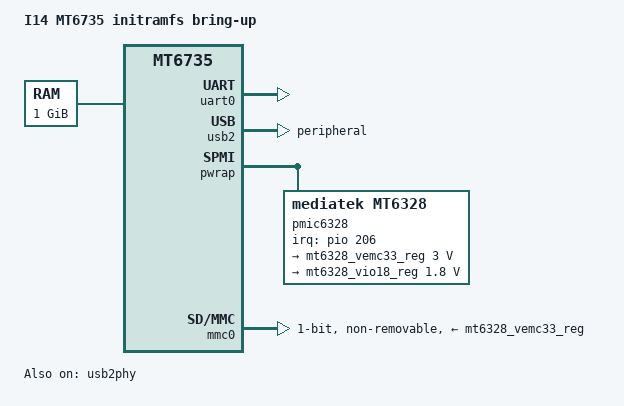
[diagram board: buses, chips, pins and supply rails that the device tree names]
// SPDX-License-Identifier: BSD-3-Clause
/dts-v1/;

#include "mt6735.dtsi"

/ {
	model = "I14 MT6735 initramfs bring-up";
	compatible = "magcomm,magc6735-65u-1-m0", "mediatek,mt6735";

	aliases {
		serial0 = &uart0;
	};

	chosen {
		/* LK may expand /memory/reg; cap the range again inside Linux. */
		linux,usable-memory-range = <0 0x40000000 0 0x40000000>;
		linux,initrd-start = <0 0x44000000>;
		linux,initrd-end = <0 0x44038e53>;
		stdout-path = "serial0:921600n8";
		bootargs = "console=tty0 console=ttyS0,921600n8 root=/dev/ram rdinit=/init ignore_loglevel loglevel=8 nokaslr panic=10 clk_ignore_unused pd_ignore_unused regulator_ignore_unused";
		/* LK can replace bootargs; zimage64 restores this explicit value. */
		zimage64,cmdline-override = "console=tty0 console=ttyS0,921600n8 root=/dev/ram rdinit=/init ignore_loglevel loglevel=8 nokaslr panic=10 clk_ignore_unused pd_ignore_unused regulator_ignore_unused";
	};

	/* Keep the second bank, modem, connectivity, TEE and framebuffer out. */
	memory@40000000 {
		device_type = "memory";
		reg = <0 0x40000000 0 0x40000000>;
	};

	reserved-memory {
		/* ATF at 0x43000000/0x30000 is inherited and matches the own DT. */
		/* Keep the vendor ramconsole and minirdump passive. */
		memory@43f00000 {
			reg = <0 0x43f00000 0 0x10000>;
			no-map;
		};

		ramoops@43f10000 {
			compatible = "ramoops";
			reg = <0 0x43f10000 0 0xe0000>;
			no-map;
			/* Layout matches the own stock kernel's parameter defaults. */
			record-size = <0x1000>;
			console-size = <0x10000>;
			ftrace-size = <0x1000>;
			pmsg-size = <0x10000>;
			ecc-size = <0>;
			mem-type = <0>;
			flags = <0>;
		};

		memory@43ff0000 {
			reg = <0 0x43ff0000 0 0x10000>;
			no-map;
		};

		/* Conservative first-bank firmware ceiling, including dummy-read. */
		memory@78000000 {
			reg = <0 0x78000000 0 0x08000000>;
			no-map;
		};

		/delete-node/ memory@7e000000;
		/delete-node/ memory@7f800000;
	};
};

/* Match the reference single-core path until PSCI is separately verified. */
/delete-node/ &cpu1;
/delete-node/ &cpu2;
/delete-node/ &cpu3;

&uart0 {
	status = "okay";
};

&usb2 {
	status = "okay";
	dr_mode = "peripheral";
};

&usb2phy {
	status = "okay";
};

/* Wrapper/MFD probe can write transport controls, IRQ masks and rail controls. */
&pwrap {
	status = "okay";

	pmic6328: pmic {
		compatible = "mediatek,mt6328";
		interrupt-parent = <&pio>;
		interrupts = <206 IRQ_TYPE_LEVEL_HIGH>;
		interrupt-controller;
		#interrupt-cells = <2>;

		/* Constrain only the two rails reported by the own Android driver. */
		regulators {
			compatible = "mediatek,mt6328-regulator";

			mt6328_vemc33_reg: ldo_vemc_3v3 {
				regulator-name = "vemc_3v3";
				regulator-min-microvolt = <3000000>;
				regulator-max-microvolt = <3000000>;
				regulator-boot-on;
				regulator-always-on;
			};

			mt6328_vio18_reg: ldo_vio18 {
				regulator-name = "vio18";
				regulator-min-microvolt = <1800000>;
				regulator-max-microvolt = <1800000>;
				regulator-boot-on;
				regulator-always-on;
			};
		};

		keys {
			compatible = "mediatek,mt6328-keys";
			status = "disabled";
		};
	};
};

&mmc0 {
	status = "okay";
	bus-width = <1>;
	max-frequency = <400000>;
	non-removable;
	no-sd;
	no-sdio;
	vmmc-supply = <&mt6328_vemc33_reg>;
	vqmmc-supply = <&mt6328_vio18_reg>;
};

&mmc1 {
	status = "disabled";
};

&mmc2 {
	status = "disabled";
};

/* Avoid bringing up unrelated display/multimedia power-domain consumers. */
&scpsys {
	status = "disabled";
};

&spm {
	status = "disabled";
};

&m4u {
	status = "disabled";
};

&smi_common {
	status = "disabled";
};

&smi_larb0 {
	status = "disabled";
};

&smi_larb1 {
	status = "disabled";
};

&smi_larb2 {
	status = "disabled";
};

&smi_larb3 {
	status = "disabled";
};
